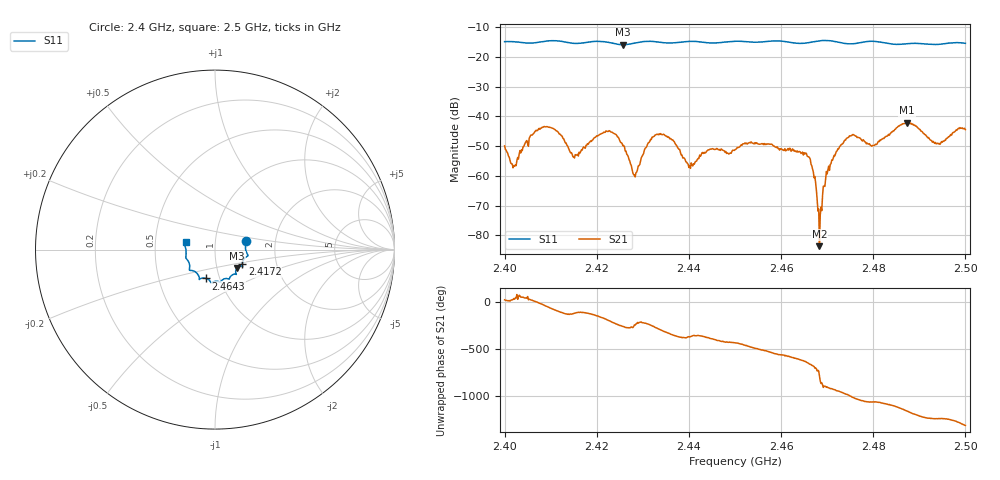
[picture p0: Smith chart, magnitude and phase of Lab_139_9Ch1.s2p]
# Hz S RI R 50
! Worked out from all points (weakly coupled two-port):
!   601 points, 2.4 GHz to 2.5 GHz, reference 50 ohm
!   highest |S21| = -42.19 dB at 2.4873 GHz (marker M1); lowest = -83.7 dB at 2.4683 GHz (marker M2)
!   lowest |S11| = -15.9 dB at 2.4257 GHz (marker M3), VSWR 1.38, Z = 62.5 - j13.1 ohm
!   |S11| at or under -10 dB: start of sweep to end of sweep
!   S12 and S22 are empty: the file has one direction only
!   S11 on the Smith chart (normalised r, x): 2.4 GHz: 1.41, +0.14; 2.4172 GHz: 1.34, -0.22; 2.4643 GHz: 0.86, -0.28; 2.5 GHz: 0.72, +0.06
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2.4e9  0.1731 0.0495  0.00301 0.00106  0 0  0 0
2.402e9  0.1747 0.0415  0.00123 0.000813  0 0  0 0
2.409e9  0.1818 -0.0281  0.00444 -0.00497  0 0  0 0
2.414667e9  0.1609 -0.0526  -0.00148 -0.00175  0 0  0 0
2.416667e9  0.1526 -0.0749  -0.00115 -0.00247  0 0  0 0
2.417167e9  0.1521 -0.0806  -0.00127 -0.00279  0 0  0 0
2.4225e9  0.1486 -0.0933  -0.00526 0.0018  0 0  0 0
2.425667e9  0.1229 -0.1024  -0.000386 0.00317  0 0  0 0
2.428333e9  0.1156 -0.1266  -0.000352 0.00089  0 0  0 0
2.433333e9  0.1126 -0.1367  0.00147 0.00468  0 0  0 0
2.440333e9  0.0796 -0.1638  0.00131 -0.000247  0 0  0 0
2.444667e9  0.0581 -0.161  0.00243 -0.00143  0 0  0 0
2.45e9  0.0294 -0.1807  0.00069 -0.00266  0 0  0 0
2.464333e9  -0.0504 -0.1606  -0.000454 0.00233  0 0  0 0
2.466667e9  -0.0763 -0.1597  0.00106 0.00101  0 0  0 0
2.468333e9  -0.0861 -0.1651  2.54e-05 -6.05e-05  0 0  0 0
2.470167e9  -0.0876 -0.166  -0.00125 0.000249  0 0  0 0
2.474e9  -0.0977 -0.1358  -0.000723 0.00392  0 0  0 0
2.483333e9  -0.1409 -0.0897  0.00487 -0.00107  0 0  0 0
2.487333e9  -0.1573 -0.0544  0.00134 -0.00766  0 0  0 0
2.494e9  -0.1617 -0.000996  -0.00337 -0.00106  0 0  0 0
2.5e9  -0.1634 0.0418  -0.00358 0.00478  0 0  0 0
